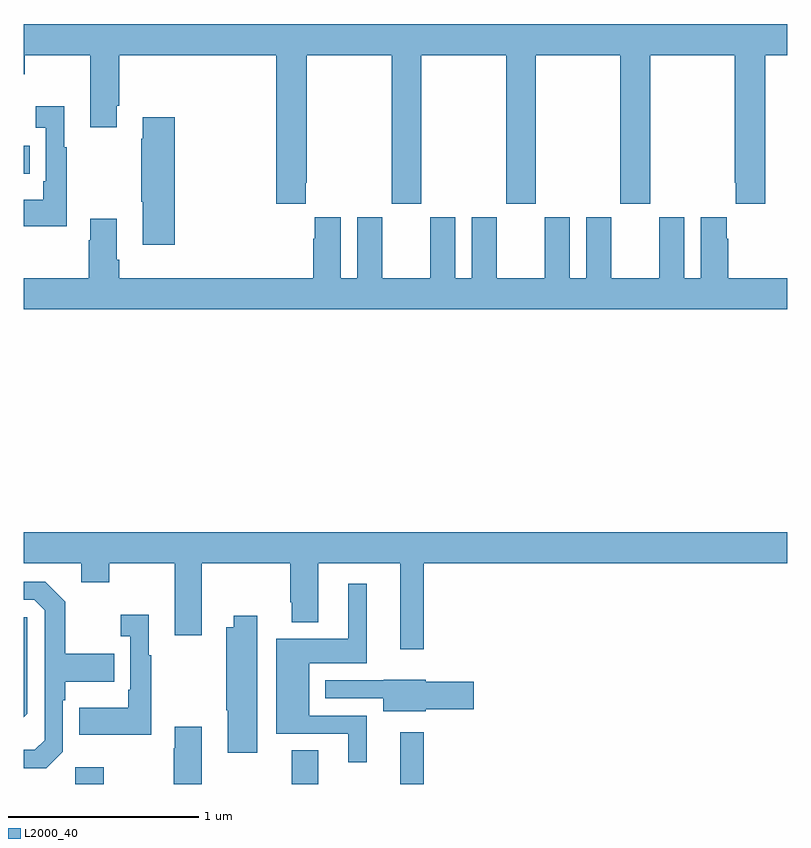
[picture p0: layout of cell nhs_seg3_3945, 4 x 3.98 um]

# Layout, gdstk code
import gdstk
lib = gdstk.Library(unit=1e-6, precision=1e-09)
def R(c, l, rs):  # rectangles x0, y0, x1, y1
    for r in rs: c.add(gdstk.rectangle(r[:2], r[2:], *l))
def P(c, l, *ps):  # polygons
    for p in ps: c.add(gdstk.Polygon(p, *l))
L2000_40 = (2000, 40)

nhs_seg3_3945 = lib.new_cell('nhs_seg3_3945')
R(nhs_seg3_3945, L2000_40, [(315.27,726.4,315.417,726.487), (316.403,726.4,316.543,726.577), (316.973,726.4,317.095,726.67), (315,729.599,315.029,729.747)])
P(nhs_seg3_3945, L2000_40, [(316.477,729.553),(316.482,729.553),(316.482,730.22),(316.927,730.22),(316.927,729.441),(317.082,729.441),(317.082,730.22),(317.527,730.22),(317.527,729.441),(317.682,729.441),(317.682,730.22),(318.127,730.22),(318.127,729.441),(318.282,729.441),(318.282,730.22),(318.727,730.22),(318.727,729.553),(318.731,729.553),(318.731,729.441),(318.887,729.441),(318.887,730.22),(319,730.22),(319,730.384),(315,730.384),(315,730.121),(315.003,730.121),(315.003,730.22),(315.347,730.22),(315.347,729.843),(315.487,729.843),(315.487,729.955),(315.5,729.955),(315.5,730.22),(316.322,730.22),(316.322,729.441),(316.477,729.441)],
  [(315.223,729.739),(315.211,729.739),(315.211,729.952),(315.063,729.952),(315.063,729.839),(315.114,729.839),(315.114,729.559),(315.102,729.559),(315.102,729.463),(315,729.463),(315,729.323),(315.223,729.323)],
  [(315.791,729.895),(315.623,729.895),(315.623,729.782),(315.616,729.782),(315.616,729.451),(315.623,729.451),(315.623,729.228),(315.791,729.228)],
  [(319,729.052),(318.692,729.052),(318.692,729.257),(318.685,729.257),(318.685,729.37),(318.548,729.37),(318.548,729.052),(318.46,729.052),(318.46,729.37),(318.329,729.37),(318.329,729.052),(318.079,729.052),(318.079,729.37),(317.948,729.37),(317.948,729.052),(317.86,729.052),(317.86,729.37),(317.729,729.37),(317.729,729.052),(317.479,729.052),(317.479,729.37),(317.348,729.37),(317.348,729.052),(317.26,729.052),(317.26,729.37),(317.129,729.37),(317.129,729.052),(316.879,729.052),(316.879,729.37),(316.748,729.37),(316.748,729.052),(316.66,729.052),(316.66,729.37),(316.523,729.37),(316.523,729.257),(316.517,729.257),(316.517,729.052),(315.5,729.052),(315.5,729.148),(315.487,729.148),(315.487,729.364),(315.347,729.364),(315.347,729.251),(315.34,729.251),(315.34,729.052),(315,729.052),(315,728.888),(319,728.888)],
  [(317.095,727.556),(319,727.556),(319,727.72),(315,727.72),(315,727.556),(315.299,727.556),(315.299,727.457),(315.447,727.457),(315.447,727.556),(315.791,727.556),(315.791,727.179),(315.931,727.179),(315.931,727.556),(316.396,727.556),(316.396,727.354),(316.403,727.354),(316.403,727.247),(316.543,727.247),(316.543,727.556),(316.973,727.556),(316.973,727.107),(317.095,727.107)],
  [(315.204,726.57),(315.204,726.839),(315.217,726.839),(315.217,726.935),(315.473,726.935),(315.473,727.083),(315.217,727.083),(315.217,727.355),(315.111,727.461),(315,727.461),(315,727.365),(315.054,727.365),(315.108,727.311),(315.108,726.63),(315.057,726.579),(315,726.579),(315,726.483),(315.117,726.483)],
  [(316.798,726.759),(316.495,726.759),(316.495,727.034),(316.798,727.034),(316.798,727.45),(316.7,727.45),(316.7,727.162),(316.322,727.162),(316.322,726.663),(316.7,726.663),(316.7,726.513),(316.798,726.513)],
  [(315.667,727.075),(315.655,727.075),(315.655,727.288),(315.507,727.288),(315.507,727.175),(315.558,727.175),(315.558,726.895),(315.546,726.895),(315.546,726.799),(315.289,726.799),(315.289,726.659),(315.667,726.659)],
  [(316.222,727.282),(316.1,727.282),(316.1,727.222),(316.06,727.222),(316.06,726.787),(316.067,726.787),(316.067,726.564),(316.222,726.564)],
  [(315.018,726.768),(315.018,727.275),(315,727.275),(315,726.75)],
  [(317.106,726.793),(317.359,726.793),(317.359,726.935),(317.106,726.935),(317.106,726.946),(316.887,726.946),(316.887,726.945),(316.58,726.945),(316.58,726.849),(316.883,726.849),(316.883,726.782),(317.106,726.782)],
  [(315.931,726.7),(315.791,726.7),(315.791,726.587),(315.784,726.587),(315.784,726.4),(315.931,726.4)])

lib.write_gds('nhs_seg3_3945.gds')
